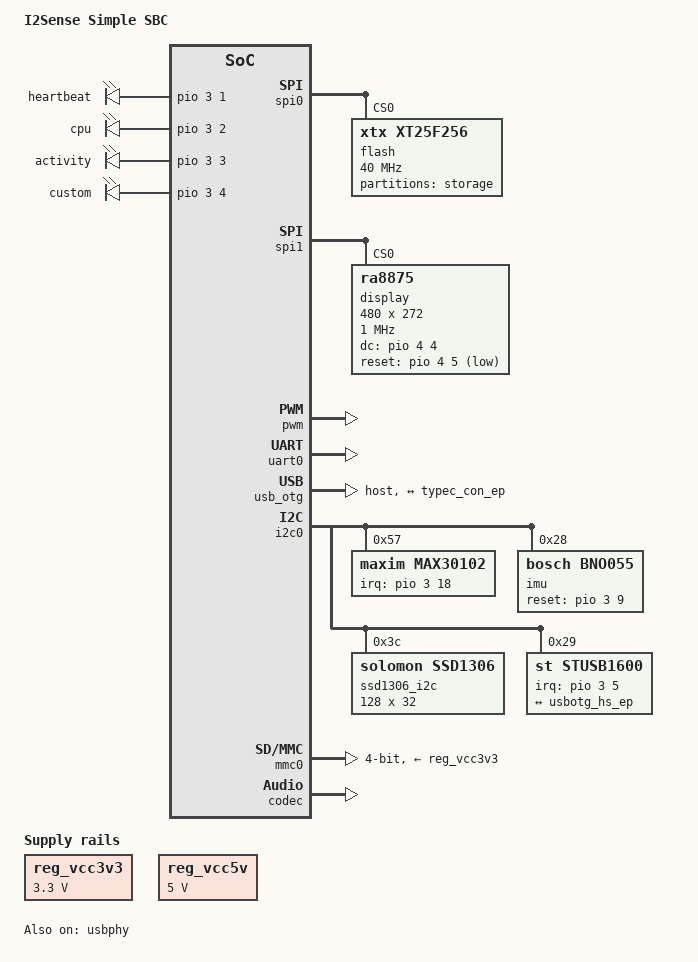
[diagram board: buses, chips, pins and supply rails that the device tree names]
// SPDX-License-Identifier: (GPL-2.0+ OR X11)
/*
 * Copyright 2018 Icenowy Zheng <icenowy@aosc.io>
 * Modified by: I2Sense Lab <dmatkin@ucalgary.ca>
 */

/dts-v1/;
#include "f1c200s_simple_sbc.dtsi"
#include <dt-bindings/gpio/gpio.h>
#include <dt-bindings/interrupt-controller/irq.h>

/ {
	model = "I2Sense Simple SBC";
	compatible = "allwinner,suniv-f1c100s";

	aliases {
		serial0 = &uart0;
	};

	chosen {
		stdout-path = "serial0:115200n8";
	};

	reg_vcc3v3: vcc3v3 {
		compatible = "regulator-fixed";
		regulator-name = "vcc3v3";
		regulator-min-microvolt = <3300000>;
		regulator-max-microvolt = <3300000>;
		regulator-always-on;
	};

	reg_vcc5v: vcc5v {
		compatible = "regulator-fixed";
		regulator-name = "usb_vbus";
		regulator-min-microvolt = <5000000>;
		regulator-max-microvolt = <5000000>;
		enable-active-high;
	};

	leds {
		compatible = "gpio-leds";

		heartbeat_led: led-0 {
			label = "heartbeat";
			gpios = <&pio 3 1 GPIO_ACTIVE_HIGH>; // PD1
			linux,default-trigger = "heartbeat";
			default-state = "off";
		};

		cpu_led: led-1 {
			label = "cpu";
			gpios = <&pio 3 2 GPIO_ACTIVE_HIGH>; // PD2
			linux,default-trigger = "cpu";
			default-state = "off";
		};

		activity_led: led-2 {
			label = "activity";
			gpios = <&pio 3 3 GPIO_ACTIVE_HIGH>; // PD3
			linux,default-trigger = "activity";
			default-state = "off";
		};

		custom_led: led-3 {
			label = "custom";
			gpios = <&pio 3 4 GPIO_ACTIVE_HIGH>; // PD4
			linux,default-trigger = "none";
			default-state = "off";
		};
	};

	usb_role_sw_host: role-switch {
		compatible = "simple-usb-role-switch";
		role       = "host";          /* constant host */
	};
};

&spi0 {
	pinctrl-names = "default";
    pinctrl-0 = <&spi0_pc_pins>;
    status = "okay";

	flash@0 {
		#address-cells = <1>;
		#size-cells = <1>;
		compatible = "xtx,xt25f256", "jedec,spi-nor";
		reg = <0>;
		spi-max-frequency = <40000000>;

		partitions {
			compatible = "fixed-partitions";
			#address-cells = <1>;
			#size-cells = <1>;

			partition@0 {
				label = "storage";
				reg = <0x000000 0x1000000>; // 16MB
			};
		};
	};
};

&spi1 {
    status = "okay";
    pinctrl-names = "default";
    pinctrl-0 = <&spi1_pc_pins>;

    display@0 {
        compatible = "ra8875";
        reg = <0>;
        spi-max-frequency = <1000000>;

		dc-gpios    = <&pio 4 4 GPIO_ACTIVE_HIGH>; /* PE4 – adjust */
        reset-gpios = <&pio 4 5 GPIO_ACTIVE_LOW>;  /* PE5 – your line */

        width  = <480>;
        height = <272>;
		
        rotate = <0>;
        bgr    = <0>;
    };
};

&pwm {
	status = "okay";
};

&uart0 {
	pinctrl-names = "default";
	pinctrl-0 = <&uart0_pe_pins>;
	status = "okay";
};

&otg_sram {
	status = "okay";
};

&usb_otg {
	dr_mode = "host";
	status  = "okay";

	/* leave the endpoint wiring unchanged */
	port {
		usbotg_hs_ep: endpoint {
			remote-endpoint = <&typec_con_ep>;
		};
	};
};


&usbphy {
	status = "okay";
	usb0_vbus-supply = <&reg_vcc5v>;
};

&i2c0 {
    status = "okay";
    pinctrl-names = "default";
    pinctrl-0 = <&i2c0_pins>;

    max30102@57 {
        compatible = "maxim,max30102";
        reg = <0x57>;

        interrupt-parent = <&pio>;
        interrupts = <3 18 IRQ_TYPE_EDGE_FALLING>; // Port D (3), Pin 18, falling edge trigger

        maxim,red-led-current-microamp = <7000>;
        maxim,ir-led-current-microamp = <7000>;
    };

	imu@28 {
        compatible = "bosch,bno055";
        reg = <0x28>;
        reset-gpios = <&pio 3 9 GPIO_ACTIVE_HIGH>; // PD9
	};

	ssd1306_i2c: oled@3d {
		compatible = "solomon,ssd1306";
		reg = <0x3c>;
		width = <128>;
        height = <32>;
        rotate = <0>;
	};

	stusb1600@29 {
		compatible = "st,stusb1600";
		reg = <0x29>;

		interrupt-parent = <&pio>;
		interrupts = <3 5 IRQ_TYPE_LEVEL_LOW>; // PD5 or actual IRQ pin
		status = "okay";

		connector {
			compatible = "usb-c-connector";
			label = "USB-C";
			power-role = "source";
			data-role = "host";
			typec-power-opmode = "default";

			usb-role-switch = <&usb_role_sw_host>;

			ports {
				#address-cells = <1>;
				#size-cells = <0>;
				port@0 {
					reg = <0>;
					typec_con_ep: endpoint {
						remote-endpoint = <&usbotg_hs_ep>;
					};
				};
			};
		};
	};
};

&mmc0 {
	bus-width = <4>;
	disable-wp;
	broken-cd;
	vmmc-supply = <&reg_vcc3v3>;
	status = "okay";
};

&codec {
	allwinner,audio-routing =
		"Headphone", "HP",
		"Headphone", "HPCOM";
	status = "okay";
};

&dma {
    status = "okay";
};


